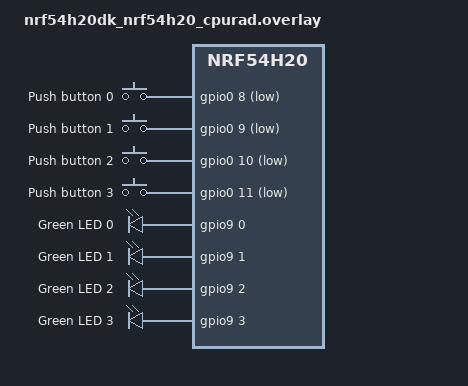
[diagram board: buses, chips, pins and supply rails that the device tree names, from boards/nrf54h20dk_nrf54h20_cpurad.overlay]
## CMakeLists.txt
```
#
# Copyright (c) 2018 Nordic Semiconductor
#
# SPDX-License-Identifier: LicenseRef-Nordic-5-Clause
#
cmake_minimum_required(VERSION 3.20.0)

find_package(Zephyr REQUIRED HINTS $ENV{ZEPHYR_BASE})
project(NONE)

# NORDIC SDK APP START
target_sources(app PRIVATE
  src/main.c
)

# NORDIC SDK APP END

zephyr_library_include_directories(.)
```

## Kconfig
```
#
# Copyright (c) 2018 Nordic Semiconductor
#
# SPDX-License-Identifier: LicenseRef-Nordic-5-Clause
#

source "Kconfig.zephyr"

menu "Nordic UART BLE GATT service sample"

config BT_NUS_THREAD_STACK_SIZE
	int "Thread stack size"
	default 1024
	help
	  Stack size used in each of the two threads

config BT_NUS_UART_BUFFER_SIZE
	int "UART payload buffer element size"
	default 40
	help
	  Size of the payload buffer in each RX and TX FIFO element

config BT_NUS_SECURITY_ENABLED
	bool "Security"
	default y
	select BT_SMP
	help
	  Enable Bluetooth LE security for the UART service

config BT_NUS_UART_RX_WAIT_TIME
	int "Timeout for UART RX complete event"
	default 50000
	help
	  Wait for RX complete event time in microseconds

config SETTINGS
	default y

config ZMS
	default y if (SOC_FLASH_NRF_RRAM || SOC_FLASH_NRF_MRAM)

config NVS
	default y if !(SOC_FLASH_NRF_RRAM || SOC_FLASH_NRF_MRAM)

endmenu
```

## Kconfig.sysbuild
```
#
# Copyright (c) 2023 Nordic Semiconductor
#
# SPDX-License-Identifier: LicenseRef-Nordic-5-Clause
#

config MERGED_HEX_FILES
	# On nRF71 the UICR and WICR hex files come from separate sysbuild
	# images that the merge target cannot depend on, so merging fails.
	default y if !SOC_SERIES_NRF54H && !SOC_SERIES_NRF71

config NRF_DEFAULT_IPC_RADIO
	default y

config NETCORE_IPC_RADIO_BT_HCI_IPC
	default y

source "share/sysbuild/Kconfig"
```

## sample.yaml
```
sample:
  description: Bluetooth Low Energy UART service sample
  name: Bluetooth LE UART service

common:
  sysbuild: true
  build_only: true
  tags:
    - bluetooth
    - ci_build
    - sysbuild
    - ci_samples_bluetooth

tests:
  sample.bluetooth.peripheral_uart:
    build_only: false
    platform_allow: &peripheral_uart_platforms
      - nrf5340dk/nrf5340/cpuapp
      - nrf5340dk/nrf5340/cpuapp/ns
      - nrf54l15dk/nrf54l05/cpuapp
      - nrf54l15dk/nrf54l10/cpuapp
      - nrf54l15dk/nrf54l15/cpuapp
      - nrf54l15dk/nrf54l15/cpuapp/ns
      - nrf54ls05dk/nrf54ls05a/cpuapp
      - nrf54ls05dk/nrf54ls05b/cpuapp
      - nrf54lm20dk/nrf54lm20a/cpuapp
      - nrf54lm20dk/nrf54lm20a/cpuapp/ns
      - nrf54lm20dk/nrf54lm20b/cpuapp
      - nrf54lm20dk/nrf54lm20b/cpuapp/ns
      - nrf54lv10dk/nrf54lv10a/cpuapp
      - nrf54lv10dk/nrf54lv10a/cpuapp/ns
      - nrf54lc10dk/nrf54lc10a/cpuapp
      - nrf54lc10dk/nrf54lc10a/cpuapp/ns
      - nrf54h20dk/nrf54h20/cpuapp
      - nrf54h20dk/nrf54h20/cpurad
      - nrf7120dk/nrf7120/cpuapp
    integration_platforms: *peripheral_uart_platforms
    harness: console
    harness_config:
      type: multi_line
      ordered: true
      regex:
        - "Starting Nordic UART service sample"
    timeout: 15

  sample.bluetooth.peripheral_uart_cdc:
    platform_allow:
      - nrf54lm20dk/nrf54lm20a/cpuapp
      - nrf54lm20dk/nrf54lm20b/cpuapp
    integration_platforms:
      - nrf54lm20dk/nrf54lm20a/cpuapp
    extra_args:
      - OVERLAY_CONFIG=prj_cdc.conf
      - DTC_OVERLAY_FILE="usb.overlay"

  sample.bluetooth.peripheral_uart_minimal:
    platform_allow:
      - nrf54ls05dk/nrf54ls05a/cpuapp
    integration_platforms:
      - nrf54ls05dk/nrf54ls05a/cpuapp
    extra_args: FILE_SUFFIX=minimal

  sample.bluetooth.peripheral_uart_ble_rpc:
    platform_allow:
      - nrf5340dk/nrf5340/cpuapp
      - nrf54h20dk/nrf54h20/cpuapp
    integration_platforms:
      - nrf54h20dk/nrf54h20/cpuapp
    extra_args:
      - SNIPPET=nordic-bt-rpc
      - FILE_SUFFIX=bt_rpc

  sample.bluetooth.peripheral_uart.security_disabled:
    platform_allow: *peripheral_uart_platforms
    integration_platforms:
      - nrf54l15dk/nrf54l15/cpuapp
    extra_configs:
      - CONFIG_BT_NUS_SECURITY_ENABLED=n
```

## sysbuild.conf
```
#
# Copyright (c) 2024 Nordic Semiconductor
#
# SPDX-License-Identifier: LicenseRef-Nordic-5-Clause
#

SB_CONFIG_NETCORE_IPC_RADIO_BT_HCI_IPC=y
```

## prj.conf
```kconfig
#
# Copyright (c) 2018 Nordic Semiconductor
#
# SPDX-License-Identifier: LicenseRef-Nordic-5-Clause
#

# Enable the UART driver
CONFIG_UART_ASYNC_API=y
CONFIG_NRFX_UARTE=y
CONFIG_SERIAL=y

CONFIG_GPIO=y

# Make sure printk is printing to the UART console
CONFIG_CONSOLE=y
CONFIG_UART_CONSOLE=y

CONFIG_HEAP_MEM_POOL_SIZE=2048

CONFIG_BT=y
CONFIG_BT_PERIPHERAL=y
CONFIG_BT_DEVICE_NAME="Nordic_UART_Service"
CONFIG_BT_MAX_CONN=1
CONFIG_BT_MAX_PAIRED=1

# Enable the NUS service
CONFIG_BT_NUS=y

# Enable bonding
CONFIG_BT_SETTINGS=y
CONFIG_FLASH=y
CONFIG_FLASH_PAGE_LAYOUT=y
CONFIG_FLASH_MAP=y

# Enable DK LED and Buttons library
CONFIG_DK_LIBRARY=y

CONFIG_SYSTEM_WORKQUEUE_STACK_SIZE=2048
# Config logger
CONFIG_LOG=y
CONFIG_USE_SEGGER_RTT=y
CONFIG_LOG_BACKEND_RTT=y
CONFIG_LOG_BACKEND_UART=n
CONFIG_LOG_PRINTK=n

CONFIG_ASSERT=y
```

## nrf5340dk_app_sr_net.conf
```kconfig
#
# Copyright (c) 2022 Nordic Semiconductor
#
# SPDX-License-Identifier: LicenseRef-Nordic-5-Clause
#

CONFIG_BOOTLOADER_MCUBOOT=y
CONFIG_NRF53_UPGRADE_NETWORK_CORE=y
CONFIG_ADD_MCUBOOT_MEDIATE_SIM_FLASH_DTS=y
```

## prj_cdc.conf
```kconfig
#
# Copyright (c) 2021 Nordic Semiconductor
#
# SPDX-License-Identifier: LicenseRef-Nordic-5-Clause
#

# Enable the UART driver
CONFIG_UART_LINE_CTRL=y
CONFIG_UART_INTERRUPT_DRIVEN=y
CONFIG_UART_ASYNC_ADAPTER=y

CONFIG_USB_DEVICE_STACK_NEXT=y
CONFIG_CDC_ACM_SERIAL_INITIALIZE_AT_BOOT=y
CONFIG_USBD_CDC_ACM_LOG_LEVEL_OFF=y

# Disable the UARTE enabled in default project configuration
CONFIG_UART_NRFX=n
```

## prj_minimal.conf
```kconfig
#
# Copyright (c) 2021 Nordic Semiconductor
#
# SPDX-License-Identifier: LicenseRef-Nordic-5-Clause
#

# Enable the UART driver
CONFIG_UART_ASYNC_API=y
CONFIG_NRFX_UARTE=y
CONFIG_SERIAL=y

CONFIG_HEAP_MEM_POOL_SIZE=1536

CONFIG_BT=y
CONFIG_BT_PERIPHERAL=y
CONFIG_BT_DEVICE_NAME="Nordic_UART_Service"
CONFIG_BT_DEVICE_APPEARANCE=833
CONFIG_BT_MAX_CONN=1
CONFIG_BT_MAX_PAIRED=1

# Enable the NUS service
CONFIG_BT_NUS=y

# Enable bonding
CONFIG_BT_SETTINGS=y
CONFIG_FLASH=y
CONFIG_FLASH_PAGE_LAYOUT=y
CONFIG_FLASH_MAP=y

# Enable DK LED and Buttons library
CONFIG_DK_LIBRARY=y

# Drivers and peripherals
CONFIG_I2C=n
CONFIG_WATCHDOG=n
CONFIG_SPI=n
CONFIG_GPIO=n

# Power management

# Interrupts
CONFIG_DYNAMIC_INTERRUPTS=n
CONFIG_IRQ_OFFLOAD=n

# Memory protection
CONFIG_THREAD_STACK_INFO=n
CONFIG_THREAD_CUSTOM_DATA=n
CONFIG_FPU=n

# Boot
CONFIG_NCS_BOOT_BANNER=n
CONFIG_BOOT_BANNER=n
CONFIG_BOOT_DELAY=0

# Console
CONFIG_CONSOLE=n
CONFIG_UART_CONSOLE=n
CONFIG_STDOUT_CONSOLE=n
CONFIG_PRINTK=n
CONFIG_EARLY_CONSOLE=n

# Build
CONFIG_SIZE_OPTIMIZATIONS=y

# ARM
CONFIG_ARM_MPU=n

# In order to correctly tune the stack sizes for the threads the following
# Configurations can enabled to print the current use:
#CONFIG_THREAD_NAME=y
#CONFIG_THREAD_ANALYZER=y
#CONFIG_THREAD_ANALYZER_AUTO=y
#CONFIG_THREAD_ANALYZER_RUN_UNLOCKED=y
#CONFIG_THREAD_ANALYZER_USE_PRINTK=y
#CONFIG_CONSOLE=y
#CONFIG_UART_CONSOLE=y
#CONFIG_SERIAL=y
#CONFIG_PRINTK=y

# Example output of thread analyzer
#SDC RX              : unused 800 usage 224 / 1024 (21 %)
#BT ECC              : unused 216 usage 888 / 1104 (80 %)
#BT RX               : unused 1736 usage 464 / 2200 (21 %)
#BT TX               : unused 1008 usage 528 / 1536 (34 %)
#ble_write_thread_id : unused 688 usage 336 / 1024 (32 %)
#sysworkq            : unused 1912 usage 136 / 2048 (6 %)
#MPSL signal         : unused 928 usage 96 / 1024 (9 %)
#idle 00             : unused 224 usage 96 / 320 (30 %)
#main                : unused 568 usage 456 / 1024 (44 %)
CONFIG_BT_RX_STACK_SIZE=1024
CONFIG_BT_HCI_TX_STACK_SIZE_WITH_PROMPT=y
CONFIG_BT_HCI_TX_STACK_SIZE=640
CONFIG_SYSTEM_WORKQUEUE_STACK_SIZE=1536
CONFIG_MPSL_WORK_STACK_SIZE=256
CONFIG_IDLE_STACK_SIZE=128
CONFIG_ISR_STACK_SIZE=1024
CONFIG_BT_NUS_THREAD_STACK_SIZE=512

# Disable features not needed
CONFIG_TIMESLICING=n
CONFIG_COMMON_LIBC_MALLOC=n
CONFIG_LOG=n
CONFIG_LOG_BACKEND_RTT=n
CONFIG_ASSERT=n

# Disable Bluetooth features not needed
CONFIG_BT_DEBUG_NONE=y
CONFIG_BT_ASSERT=n
CONFIG_BT_DATA_LEN_UPDATE=n
CONFIG_BT_PHY_UPDATE=n
CONFIG_BT_GATT_CACHING=n
CONFIG_BT_GATT_SERVICE_CHANGED=n
CONFIG_BT_GAP_PERIPHERAL_PREF_PARAMS=n
CONFIG_BT_SETTINGS_CCC_LAZY_LOADING=y
CONFIG_BT_HCI_VS=n

# Disable Bluetooth controller features not needed
CONFIG_BT_CTLR_PRIVACY=n
CONFIG_BT_CTLR_PHY_2M=n

# Reduce Bluetooth buffers
CONFIG_BT_BUF_EVT_DISCARDABLE_COUNT=1
CONFIG_BT_BUF_EVT_DISCARDABLE_SIZE=43
CONFIG_BT_BUF_EVT_RX_COUNT=4

CONFIG_BT_L2CAP_TX_BUF_COUNT=2
CONFIG_BT_ATT_TX_COUNT=2
CONFIG_BT_BUF_ACL_TX_COUNT=3
CONFIG_BT_BUF_ACL_TX_SIZE=27
```

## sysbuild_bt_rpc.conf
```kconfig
#
# Copyright (c) 2024 Nordic Semiconductor
#
# SPDX-License-Identifier: LicenseRef-Nordic-5-Clause
#

SB_CONFIG_BT=y
SB_CONFIG_BT_RPC=y
```

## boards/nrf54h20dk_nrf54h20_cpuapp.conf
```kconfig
#
# Copyright (c) 2024 Nordic Semiconductor
#
# SPDX-License-Identifier: LicenseRef-Nordic-5-Clause
#

# Don't get entropy from HCI on nRF54H20 devices
CONFIG_BT_HOST_CRYPTO_PRNG=y
CONFIG_ENTROPY_BT_HCI=n

CONFIG_SOC_NRF54H20_CPURAD_ENABLE=y
```

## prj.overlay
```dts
&uart0 {
	compatible = "nordic,nrf-uarte";
};
```

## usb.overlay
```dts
/*
 * Copyright (c) 2021 Nordic Semiconductor ASA
 *
 * SPDX-License-Identifier: LicenseRef-Nordic-5-Clause
 */

/ {
	chosen {
		zephyr,console = &cdc_acm_uart0;
		nordic,nus-uart = &cdc_acm_uart0;
	};
};

&zephyr_udc0 {
	cdc_acm_uart0: cdc_acm_uart0 {
		compatible = "zephyr,cdc-acm-uart";
		label = "CDC_ACM_0";
	};
};
```

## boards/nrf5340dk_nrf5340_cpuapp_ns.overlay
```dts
/*
 * Copyright (c) 2026 Nordic Semiconductor ASA
 *
 * SPDX-License-Identifier: LicenseRef-Nordic-5-Clause
 */

/delete-node/ &boot_partition;
/delete-node/ &slot0_partition;
/delete-node/ &slot1_partition;
/delete-node/ &tfm_its_partition;
/delete-node/ &tfm_otp_partition;
/delete-node/ &tfm_ps_partition;
/delete-node/ &storage_partition;

&flash0 {
	partitions {
		slot0_s_partition: partition@0 {
			compatible = "zephyr,mapped-partition";
			label = "image-0-secure";
			reg = <0x0 0x20000>;
		};

		slot0_ns_partition: partition@20000 {
			compatible = "zephyr,mapped-partition";
			label = "image-0-nonsecure";
			reg = <0x20000 0xd2000>;
		};

		nonsecure_storage: partition@f2000 {
			compatible = "zephyr,mapped-partition";
			label = "nonsecure-storage";
			reg = <0xf2000 DT_SIZE_K(8)>;
			ranges = <0x0 0xf2000 DT_SIZE_K(8)>;
			#address-cells = <1>;
			#size-cells = <1>;

			storage_partition: partition@0 {
				compatible = "zephyr,mapped-partition";
				label = "storage";
				reg = <0x0 DT_SIZE_K(8)>;
			};
		};

		tfm_storage_partition: partition@f4000 {
			compatible = "zephyr,mapped-partition";
			label = "tfm-storage";
			reg = <0xf4000 DT_SIZE_K(48)>;
			ranges = <0x0 0xf4000 DT_SIZE_K(48)>;
			#address-cells = <1>;
			#size-cells = <1>;

			tfm_its_partition: partition@0 {
				compatible = "zephyr,mapped-partition";
				label = "tfm-its";
				reg = <0x0 DT_SIZE_K(8)>;
			};

			tfm_otp_partition: partition@4000 {
				compatible = "zephyr,mapped-partition";
				label = "tfm-otp";
				reg = <0x4000 DT_SIZE_K(8)>;
			};

			tfm_ps_partition: partition@8000 {
				compatible = "zephyr,mapped-partition";
				label = "tfm-ps";
				reg = <0x8000 DT_SIZE_K(16)>;
			};
		};
	};
};

&sram0_s {
	reg = <0x0 0xc000>;
};

&sram0_ns {
	reg = <0xc000 0x74000>;
	ranges = <0x0 0xc000 0x74000>;
};

&sram0_ns_app {
	reg = <0x0 0x64000>;
};
```

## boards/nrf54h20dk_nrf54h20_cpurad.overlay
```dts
/*
 * Copyright (c) 2024 Nordic Semiconductor ASA
 *
 * SPDX-License-Identifier: LicenseRef-Nordic-5-Clause
 */

/ {
	chosen {
		zephyr,settings_partition = &cpurad_storage_partition;
	};

	/* LEDs and buttons definitions are required for the DK Buttons and
	 * LEDs module.
	 */

	aliases {
		led0 = &led0;
		led1 = &led1;
		led2 = &led2;
		led3 = &led3;

		sw0 = &button0;
		sw1 = &button1;
		sw2 = &button2;
		sw3 = &button3;
	};

	buttons {
		compatible = "gpio-keys";

		button0: button_0 {
			gpios = <&gpio0 8 (GPIO_PULL_UP | GPIO_ACTIVE_LOW)>;
			label = "Push button 0";
			zephyr,code = <INPUT_KEY_0>;
		};

		button1: button_1 {
			gpios = <&gpio0 9 (GPIO_PULL_UP | GPIO_ACTIVE_LOW)>;
			label = "Push button 1";
			zephyr,code = <INPUT_KEY_1>;
		};

		button2: button_2 {
			gpios = <&gpio0 10 (GPIO_PULL_UP | GPIO_ACTIVE_LOW)>;
			label = "Push button 2";
			zephyr,code = <INPUT_KEY_2>;
		};

		button3: button_3 {
			gpios = <&gpio0 11 (GPIO_PULL_UP | GPIO_ACTIVE_LOW)>;
			label = "Push button 3";
			zephyr,code = <INPUT_KEY_3>;
		};
	};

	leds {
		compatible = "gpio-leds";

		led0: led_0 {
			gpios = <&gpio9 0 GPIO_ACTIVE_HIGH>;
			label = "Green LED 0";
		};

		led1: led_1 {
			gpios = <&gpio9 1 GPIO_ACTIVE_HIGH>;
			label = "Green LED 1";
		};

		led2: led_2 {
			gpios = <&gpio9 2 GPIO_ACTIVE_HIGH>;
			label = "Green LED 2";
		};

		led3: led_3 {
			gpios = <&gpio9 3 GPIO_ACTIVE_HIGH>;
			label = "Green LED 3";
		};
	};
};

&gpio0 {
	status = "okay";
};

&gpio9 {
	status = "okay";
};

&gpiote130 {
	status = "okay";
	owned-channels = <4 5 6 7>;
};

/* Add a read write partition for the settings module.
 *
 * @note In case of running firmware on the application core, the same memory map
 * change must be applied to the application core DTS.
 */
&mram1x {
	partitions {
		/* Note: the location here has been kept the same as before the introduction of
		 * IronSide on nrf54h20, which has brought with it an updated memory map.
		 * It will likely need to be updated as the MRAM memory map is not yet final.
		 */
		cpurad_storage_partition: partition@1e3000 {
			compatible = "zephyr,mapped-partition";
			reg = <0x1e3000 DT_SIZE_K(24)>;
		};
	};
};
```

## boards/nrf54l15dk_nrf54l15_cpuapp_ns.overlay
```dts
/*
 * Copyright (c) 2026 Nordic Semiconductor ASA
 *
 * SPDX-License-Identifier: LicenseRef-Nordic-5-Clause
 */

/delete-node/ &slot0_s_partition;
/delete-node/ &storage_partition;
/delete-node/ &slot0_ns_partition;
/delete-node/ &tfm_its_partition;
/delete-node/ &tfm_otp_partition;
/delete-node/ &tfm_ps_partition;

&cpuapp_rram {
	partitions {
		slot0_s_partition: partition@0 {
			compatible = "zephyr,mapped-partition";
			label = "image-0-secure";
			reg = <0x0 0x40000>;
		};

		tfm_storage_partition: partition@40000 {
			compatible = "zephyr,mapped-partition";
			label = "tfm-storage";
			reg = <0x40000 DT_SIZE_K(40)>;
			ranges = <0x0 0x40000 DT_SIZE_K(40)>;
			#address-cells = <1>;
			#size-cells = <1>;

			tfm_its_partition: partition@0 {
				compatible = "zephyr,mapped-partition";
				label = "tfm-its";
				reg = <0x0 DT_SIZE_K(16)>;
			};

			tfm_otp_partition: partition@4000 {
				compatible = "zephyr,mapped-partition";
				label = "tfm-otp";
				reg = <0x4000 DT_SIZE_K(8)>;
			};

			tfm_ps_partition: partition@6000 {
				compatible = "zephyr,mapped-partition";
				label = "tfm-ps";
				reg = <0x6000 DT_SIZE_K(16)>;
			};
		};

		slot0_ns_partition: partition@4a000 {
			compatible = "zephyr,mapped-partition";
			label = "image-0-nonsecure";
			reg = <0x4a000 0x131000>;
		};

		nonsecure_storage: partition@17b000 {
			compatible = "zephyr,mapped-partition";
			label = "nonsecure-storage";
			reg = <0x17b000 DT_SIZE_K(8)>;
			ranges = <0x0 0x17b000 DT_SIZE_K(8)>;
			#address-cells = <1>;
			#size-cells = <1>;

			storage_partition: partition@0 {
				compatible = "zephyr,mapped-partition";
				label = "storage";
				reg = <0x0 DT_SIZE_K(8)>;
			};
		};
	};
};
```

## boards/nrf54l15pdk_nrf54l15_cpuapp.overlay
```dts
/*
 * Copyright (c) 2024 Nordic Semiconductor ASA
 *
 * SPDX-License-Identifier: LicenseRef-Nordic-5-Clause
 */

/ {
	chosen {
		nordic,nus-uart = &uart30;
	};
};

&uart30 {
	status = "okay";
};
```

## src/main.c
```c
/*
 * Copyright (c) 2018 Nordic Semiconductor ASA
 *
 * SPDX-License-Identifier: LicenseRef-Nordic-5-Clause
 */

/** @file
 *  @brief Nordic UART Bridge Service (NUS) sample
 */
#include <uart_async_adapter.h>

#include <zephyr/types.h>
#include <zephyr/kernel.h>
#include <zephyr/drivers/uart.h>

#include <zephyr/device.h>
#include <zephyr/devicetree.h>
#include <soc.h>

#include <zephyr/bluetooth/bluetooth.h>
#include <zephyr/bluetooth/uuid.h>
#include <zephyr/bluetooth/gatt.h>
#include <zephyr/bluetooth/hci.h>

#include <bluetooth/services/nus.h>

#include <dk_buttons_and_leds.h>

#include <zephyr/settings/settings.h>

#include <stdio.h>
#include <string.h>

#include <zephyr/logging/log.h>

#define LOG_MODULE_NAME peripheral_uart
LOG_MODULE_REGISTER(LOG_MODULE_NAME);

#define STACKSIZE CONFIG_BT_NUS_THREAD_STACK_SIZE
#define PRIORITY 7

#define DEVICE_NAME CONFIG_BT_DEVICE_NAME
#define DEVICE_NAME_LEN	(sizeof(DEVICE_NAME) - 1)

#define RUN_STATUS_LED DK_LED1
#define RUN_LED_BLINK_INTERVAL 1000

#define CON_STATUS_LED DK_LED2

#define KEY_PASSKEY_ACCEPT DK_BTN1_MSK
#define KEY_PASSKEY_REJECT DK_BTN2_MSK

#define UART_BUF_SIZE CONFIG_BT_NUS_UART_BUFFER_SIZE
#define UART_WAIT_FOR_BUF_DELAY K_MSEC(50)
#define UART_WAIT_FOR_RX CONFIG_BT_NUS_UART_RX_WAIT_TIME

static K_SEM_DEFINE(ble_init_ok, 0, 1);

static struct bt_conn *current_conn;
static struct bt_conn *auth_conn;
static struct k_work adv_work;

#if DT_HAS_CHOSEN(nordic_nus_uart)
#define NUS_UART_NODE DT_CHOSEN(nordic_nus_uart)
#elif DT_HAS_CHOSEN(zephyr_shell_uart)
#define NUS_UART_NODE DT_CHOSEN(zephyr_shell_uart)
#else
#error "No NUS UART: add chosen 'nordic,nus-uart' to devicetree (e.g. in a board overlay)."
#endif
static const struct device *uart = DEVICE_DT_GET(NUS_UART_NODE);
static struct k_work_delayable uart_work;

struct uart_data_t {
	void *fifo_reserved;
	uint8_t data[UART_BUF_SIZE];
	uint16_t len;
};

static K_FIFO_DEFINE(fifo_uart_tx_data);
static K_FIFO_DEFINE(fifo_uart_rx_data);

static const struct bt_data ad[] = {
	BT_DATA_BYTES(BT_DATA_FLAGS, (BT_LE_AD_GENERAL | BT_LE_AD_NO_BREDR)),
	BT_DATA(BT_DATA_NAME_COMPLETE, DEVICE_NAME, DEVICE_NAME_LEN),
};

static const struct bt_data sd[] = {
	BT_DATA_BYTES(BT_DATA_UUID128_ALL, BT_UUID_NUS_VAL),
};

#ifdef CONFIG_UART_ASYNC_ADAPTER
UART_ASYNC_ADAPTER_INST_DEFINE(async_adapter);
#else
#define async_adapter NULL
#endif

static void uart_cb(const struct device *dev, struct uart_event *evt, void *user_data)
{
	ARG_UNUSED(dev);

	static size_t aborted_len;
	struct uart_data_t *buf;
	static uint8_t *aborted_buf;
	static bool disable_req;

	switch (evt->type) {
	case UART_TX_DONE:
		LOG_DBG("UART_TX_DONE");
		if ((evt->data.tx.len == 0) ||
		    (!evt->data.tx.buf)) {
			return;
		}

		if (aborted_buf) {
			buf = CONTAINER_OF(aborted_buf, struct uart_data_t,
					   data[0]);
			aborted_buf = NULL;
			aborted_len = 0;
		} else {
			buf = CONTAINER_OF(evt->data.tx.buf, struct uart_data_t,
					   data[0]);
		}

		k_free(buf);

		buf = k_fifo_get(&fifo_uart_tx_data, K_NO_WAIT);
		if (!buf) {
			return;
		}

		if (uart_tx(uart, buf->data, buf->len, SYS_FOREVER_MS)) {
			LOG_WRN("Failed to send data over UART");
		}

		break;

	case UART_RX_RDY:
		LOG_DBG("UART_RX_RDY");
		buf = CONTAINER_OF(evt->data.rx.buf, struct uart_data_t, data[0]);
		buf->len += evt->data.rx.len;

		if (disable_req) {
			return;
		}

		if ((evt->data.rx.buf[buf->len - 1] == '\n') ||
		    (evt->data.rx.buf[buf->len - 1] == '\r')) {
			disable_req = true;
			uart_rx_disable(uart);
		}

		break;

	case UART_RX_DISABLED:
		LOG_DBG("UART_RX_DISABLED");
		disable_req = false;

		buf = k_malloc(sizeof(*buf));
		if (buf) {
			buf->len = 0;
		} else {
			LOG_WRN("Not able to allocate UART receive buffer");
			k_work_reschedule(&uart_work, UART_WAIT_FOR_BUF_DELAY);
			return;
		}

		uart_rx_enable(uart, buf->data, sizeof(buf->data),
			       UART_WAIT_FOR_RX);

		break;

	case UART_RX_BUF_REQUEST:
		LOG_DBG("UART_RX_BUF_REQUEST");
		buf = k_malloc(sizeof(*buf));
		if (buf) {
			buf->len = 0;
			uart_rx_buf_rsp(uart, buf->data, sizeof(buf->data));
		} else {
			LOG_WRN("Not able to allocate UART receive buffer");
		}

		break;

	case UART_RX_BUF_RELEASED:
		LOG_DBG("UART_RX_BUF_RELEASED");
		buf = CONTAINER_OF(evt->data.rx_buf.buf, struct uart_data_t,
				   data[0]);

		if (buf->len > 0) {
			k_fifo_put(&fifo_uart_rx_data, buf);
		} else {
			k_free(buf);
		}

		break;

	case UART_TX_ABORTED:
		LOG_DBG("UART_TX_ABORTED");
		if (!aborted_buf) {
			aborted_buf = (uint8_t *)evt->data.tx.buf;
		}

		aborted_len += evt->data.tx.len;
		buf = CONTAINER_OF((void *)aborted_buf, struct uart_data_t,
				   data);

		uart_tx(uart, &buf->data[aborted_len],
			buf->len - aborted_len, SYS_FOREVER_MS);

		break;

	default:
		break;
	}
}

static void uart_work_handler(struct k_work *item)
{
	struct uart_data_t *buf;

	buf = k_malloc(sizeof(*buf));
	if (buf) {
		buf->len = 0;
	} else {
		LOG_WRN("Not able to allocate UART receive buffer");
		k_work_reschedule(&uart_work, UART_WAIT_FOR_BUF_DELAY);
		return;
	}

	uart_rx_enable(uart, buf->data, sizeof(buf->data), UART_WAIT_FOR_RX);
}

static bool uart_test_async_api(const struct device *dev)
{
	const struct uart_driver_api *api =
			(const struct uart_driver_api *)dev->api;

	return (api->callback_set != NULL);
}

static int uart_init(void)
{
	int err;
	int pos;
	struct uart_data_t *rx;
	struct uart_data_t *tx;

	if (!device_is_ready(uart)) {
		return -ENODEV;
	}

	rx = k_malloc(sizeof(*rx));
	if (rx) {
		rx->len = 0;
	} else {
		return -ENOMEM;
	}

	k_work_init_delayable(&uart_work, uart_work_handler);


	if (IS_ENABLED(CONFIG_UART_ASYNC_ADAPTER) && !uart_test_async_api(uart)) {
		/* Implement API adapter */
		uart_async_adapter_init(async_adapter, uart);
		uart = async_adapter;
	}

	err = uart_callback_set(uart, uart_cb, NULL);
	if (err) {
		k_free(rx);
		LOG_ERR("Cannot initialize UART callback");
		return err;
	}

	if (IS_ENABLED(CONFIG_UART_LINE_CTRL)) {
		LOG_INF("Wait for DTR");
		while (true) {
			uint32_t dtr = 0;

			uart_line_ctrl_get(uart, UART_LINE_CTRL_DTR, &dtr);
			if (dtr) {
				break;
			}
			/* Give CPU resources to low priority threads. */
			k_sleep(K_MSEC(100));
		}
		LOG_INF("DTR set");
		err = uart_line_ctrl_set(uart, UART_LINE_CTRL_DCD, 1);
		if (err) {
			LOG_WRN("Failed to set DCD, ret code %d", err);
		}
		err = uart_line_ctrl_set(uart, UART_LINE_CTRL_DSR, 1);
		if (err) {
			LOG_WRN("Failed to set DSR, ret code %d", err);
		}
	}

	tx = k_malloc(sizeof(*tx));

	if (tx) {
		pos = snprintf(tx->data, sizeof(tx->data),
			       "Starting Nordic UART service sample\r\n");

		if ((pos < 0) || (pos >= sizeof(tx->data))) {
			k_free(rx);
			k_free(tx);
			LOG_ERR("snprintf returned %d", pos);
			return -ENOMEM;
		}

		tx->len = pos;
	} else {
		k_free(rx);
		return -ENOMEM;
	}

	err = uart_tx(uart, tx->data, tx->len, SYS_FOREVER_MS);
	if (err) {
		k_free(rx);
		k_free(tx);
		LOG_ERR("Cannot display welcome message (err: %d)", err);
		return err;
	}

	err = uart_rx_enable(uart, rx->data, sizeof(rx->data), UART_WAIT_FOR_RX);
	if (err) {
		LOG_ERR("Cannot enable uart reception (err: %d)", err);
		/* Free the rx buffer only because the tx buffer will be handled in the callback */
		k_free(rx);
	}

	return err;
}

static void adv_work_handler(struct k_work *work)
{
	int err = bt_le_adv_start(BT_LE_ADV_CONN_FAST_2, ad, ARRAY_SIZE(ad), sd, ARRAY_SIZE(sd));

	if (err) {
		LOG_ERR("Advertising failed to start (err %d)", err);
		return;
	}

	LOG_INF("Advertising successfully started");
}

static void advertising_start(void)
{
	k_work_submit(&adv_work);
}

static void connected(struct bt_conn *conn, uint8_t err)
{
	char addr[BT_ADDR_LE_STR_LEN];

	if (err) {
		LOG_ERR("Connection failed, err 0x%02x %s", err, bt_hci_err_to_str(err));
		return;
	}

	bt_addr_le_to_str(bt_conn_get_dst(conn), addr, sizeof(addr));
	LOG_INF("Connected %s", addr);

	current_conn = bt_conn_ref(conn);

	dk_set_led_on(CON_STATUS_LED);
}

static void disconnected(struct bt_conn *conn, uint8_t reason)
{
	char addr[BT_ADDR_LE_STR_LEN];

	bt_addr_le_to_str(bt_conn_get_dst(conn), addr, sizeof(addr));

	LOG_INF("Disconnected: %s, reason 0x%02x %s", addr, reason, bt_hci_err_to_str(reason));

	if (auth_conn) {
		bt_conn_unref(auth_conn);
		auth_conn = NULL;
	}

	if (current_conn) {
		bt_conn_unref(current_conn);
		current_conn = NULL;
		dk_set_led_off(CON_STATUS_LED);
	}
}

static void recycled_cb(void)
{
	LOG_INF("Connection object available from previous conn. Disconnect is complete!");
	advertising_start();
}

#ifdef CONFIG_BT_NUS_SECURITY_ENABLED
static void security_changed(struct bt_conn *conn, bt_security_t level,
			     enum bt_security_err err)
{
	char addr[BT_ADDR_LE_STR_LEN];

	bt_addr_le_to_str(bt_conn_get_dst(conn), addr, sizeof(addr));

	if (!err) {
		LOG_INF("Security changed: %s level %u", addr, level);
	} else {
		LOG_WRN("Security failed: %s level %u err %d %s", addr, level, err,
			bt_security_err_to_str(err));
	}
}
#endif

BT_CONN_CB_DEFINE(conn_callbacks) = {
	.connected        = connected,
	.disconnected     = disconnected,
	.recycled         = recycled_cb,
#ifdef CONFIG_BT_NUS_SECURITY_ENABLED
	.security_changed = security_changed,
#endif
};

#if defined(CONFIG_BT_NUS_SECURITY_ENABLED)
static void auth_passkey_display(struct bt_conn *conn, unsigned int passkey)
{
	char addr[BT_ADDR_LE_STR_LEN];

	bt_addr_le_to_str(bt_conn_get_dst(conn), addr, sizeof(addr));

	LOG_INF("Passkey for %s: %06u", addr, passkey);
}

static void auth_passkey_confirm(struct bt_conn *conn, unsigned int passkey)
{
	char addr[BT_ADDR_LE_STR_LEN];

	auth_conn = bt_conn_ref(conn);

	bt_addr_le_to_str(bt_conn_get_dst(conn), addr, sizeof(addr));

	LOG_INF("Passkey for %s: %06u", addr, passkey);

	if (IS_ENABLED(CONFIG_SOC_SERIES_NRF54H) || IS_ENABLED(CONFIG_SOC_SERIES_NRF54L)) {
		LOG_INF("Press Button 0 to confirm, Button 1 to reject.");
	} else {
		LOG_INF("Press Button 1 to confirm, Button 2 to reject.");
	}
}


static void auth_cancel(struct bt_conn *conn)
{
	char addr[BT_ADDR_LE_STR_LEN];

	bt_addr_le_to_str(bt_conn_get_dst(conn), addr, sizeof(addr));

	LOG_INF("Pairing cancelled: %s", addr);
}


static void pairing_complete(struct bt_conn *conn, bool bonded)
{
	char addr[BT_ADDR_LE_STR_LEN];

	bt_addr_le_to_str(bt_conn_get_dst(conn), addr, sizeof(addr));

	LOG_INF("Pairing completed: %s, bonded: %d", addr, bonded);
}


static void pairing_failed(struct bt_conn *conn, enum bt_security_err reason)
{
	char addr[BT_ADDR_LE_STR_LEN];

	bt_addr_le_to_str(bt_conn_get_dst(conn), addr, sizeof(addr));

	LOG_INF("Pairing failed conn: %s, reason %d %s", addr, reason,
		bt_security_err_to_str(reason));
}

static struct bt_conn_auth_cb conn_auth_callbacks = {
	.passkey_display = auth_passkey_display,
	.passkey_confirm = auth_passkey_confirm,
	.cancel = auth_cancel,
};

static struct bt_conn_auth_info_cb conn_auth_info_callbacks = {
	.pairing_complete = pairing_complete,
	.pairing_failed = pairing_failed
};
#else
static struct bt_conn_auth_cb conn_auth_callbacks;
static struct bt_conn_auth_info_cb conn_auth_info_callbacks;
#endif

static void bt_receive_cb(struct bt_conn *conn, const uint8_t *const data,
			  uint16_t len)
{
	int err;
	char addr[BT_ADDR_LE_STR_LEN] = {0};

	bt_addr_le_to_str(bt_conn_get_dst(conn), addr, ARRAY_SIZE(addr));

	LOG_INF("Received data from: %s", addr);

	for (uint16_t pos = 0; pos != len;) {
		struct uart_data_t *tx = k_malloc(sizeof(*tx));

		if (!tx) {
			LOG_WRN("Not able to allocate UART send data buffer");
			return;
		}

		/* Keep the last byte of TX buffer for potential LF char. */
		size_t tx_data_size = sizeof(tx->data) - 1;

		if ((len - pos) > tx_data_size) {
			tx->len = tx_data_size;
		} else {
			tx->len = (len - pos);
		}

		memcpy(tx->data, &data[pos], tx->len);

		pos += tx->len;

		/* Append the LF character when the CR character triggered
		 * transmission from the peer.
		 */
		if ((pos == len) && (data[len - 1] == '\r')) {
			tx->data[tx->len] = '\n';
			tx->len++;
		}

		err = uart_tx(uart, tx->data, tx->len, SYS_FOREVER_MS);
		if (err) {
			k_fifo_put(&fifo_uart_tx_data, tx);
		}
	}
}

static struct bt_nus_cb nus_cb = {
	.received = bt_receive_cb,
};

void error(void)
{
	dk_set_leds_state(DK_ALL_LEDS_MSK, DK_NO_LEDS_MSK);

	while (true) {
		/* Spin for ever */
		k_sleep(K_MSEC(1000));
	}
}

#ifdef CONFIG_BT_NUS_SECURITY_ENABLED
static void num_comp_reply(bool accept)
{
	if (accept) {
		bt_conn_auth_passkey_confirm(auth_conn);
		LOG_INF("Numeric Match, conn %p", (void *)auth_conn);
	} else {
		bt_conn_auth_cancel(auth_conn);
		LOG_INF("Numeric Reject, conn %p", (void *)auth_conn);
	}

	bt_conn_unref(auth_conn);
	auth_conn = NULL;
}

void button_changed(uint32_t button_state, uint32_t has_changed)
{
	uint32_t buttons = button_state & has_changed;

	if (auth_conn) {
		if (buttons & KEY_PASSKEY_ACCEPT) {
			num_comp_reply(true);
		}

		if (buttons & KEY_PASSKEY_REJECT) {
			num_comp_reply(false);
		}
	}
}
#endif /* CONFIG_BT_NUS_SECURITY_ENABLED */

static void configure_gpio(void)
{
	int err;

#ifdef CONFIG_BT_NUS_SECURITY_ENABLED
	err = dk_buttons_init(button_changed);
	if (err) {
		LOG_ERR("Cannot init buttons (err: %d)", err);
	}
#endif /* CONFIG_BT_NUS_SECURITY_ENABLED */

	err = dk_leds_init();
	if (err) {
		LOG_ERR("Cannot init LEDs (err: %d)", err);
	}
}

int main(void)
{
	int blink_status = 0;
	int err = 0;

	configure_gpio();

	err = uart_init();
	if (err) {
		error();
	}

	if (IS_ENABLED(CONFIG_BT_NUS_SECURITY_ENABLED)) {
		err = bt_conn_auth_cb_register(&conn_auth_callbacks);
		if (err) {
			LOG_ERR("Failed to register authorization callbacks. (err: %d)", err);
			return 0;
		}

		err = bt_conn_auth_info_cb_register(&conn_auth_info_callbacks);
		if (err) {
			LOG_ERR("Failed to register authorization info callbacks. (err: %d)", err);
			return 0;
		}
	}

	err = bt_enable(NULL);
	if (err) {
		error();
	}

	LOG_INF("Bluetooth initialized");

	k_sem_give(&ble_init_ok);

	if (IS_ENABLED(CONFIG_SETTINGS)) {
		settings_load();
	}

	err = bt_nus_init(&nus_cb);
	if (err) {
		LOG_ERR("Failed to initialize UART service (err: %d)", err);
		return 0;
	}

	k_work_init(&adv_work, adv_work_handler);
	advertising_start();

	for (;;) {
		dk_set_led(RUN_STATUS_LED, (++blink_status) % 2);
		k_sleep(K_MSEC(RUN_LED_BLINK_INTERVAL));
	}
}

void ble_write_thread(void)
{
	/* Don't go any further until BLE is initialized */
	k_sem_take(&ble_init_ok, K_FOREVER);
	struct uart_data_t nus_data = {
		.len = 0,
	};

	for (;;) {
		/* Wait indefinitely for data to be sent over bluetooth */
		struct uart_data_t *buf = k_fifo_get(&fifo_uart_rx_data,
						     K_FOREVER);

		int plen = MIN(sizeof(nus_data.data) - nus_data.len, buf->len);
		int loc = 0;

		while (plen > 0) {
			memcpy(&nus_data.data[nus_data.len], &buf->data[loc], plen);
			nus_data.len += plen;
			loc += plen;

			if (nus_data.len >= sizeof(nus_data.data) ||
			   (nus_data.data[nus_data.len - 1] == '\n') ||
			   (nus_data.data[nus_data.len - 1] == '\r')) {
				if (bt_nus_send(NULL, nus_data.data, nus_data.len)) {
					LOG_WRN("Failed to send data over BLE connection");
				}
				nus_data.len = 0;
			}

			plen = MIN(sizeof(nus_data.data), buf->len - loc);
		}

		k_free(buf);
	}
}

K_THREAD_DEFINE(ble_write_thread_id, STACKSIZE, ble_write_thread, NULL, NULL,
		NULL, PRIORITY, 0, 0);
```

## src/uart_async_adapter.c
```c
/*
 * Copyright (c) 2021 Nordic Semiconductor ASA
 *
 * SPDX-License-Identifier: LicenseRef-Nordic-5-Clause
 */

/** @file
 *  @brief UART asynchronous API adapter implementation
 */
#include "uart_async_adapter.h"
#include <zephyr/drivers/uart.h>
#include <zephyr/sys/__assert.h>

#include <zephyr/logging/log.h>
LOG_MODULE_REGISTER(uart_async_adapter);


#if !IS_ENABLED(CONFIG_UART_ASYNC_API)
#error "This adapter requires UART ASYNC API to be enabled"
#endif

#if !IS_ENABLED(CONFIG_UART_INTERRUPT_DRIVEN)
#error "The adapter requires UART INTERRUPT API to be enabled"
#endif


/**
 * @brief Access the data inside device
 *
 * This function gets the pointer to the user data inside device
 *
 * @param dev Device to get adapter data
 * @return Pointer to device data
 */
static struct uart_async_adapter_data *access_dev_data(const struct device *dev)
{
	__ASSERT_NO_MSG(dev);
	__ASSERT_NO_MSG(dev->data);
	return (struct uart_async_adapter_data *)(dev->data);
}

/**
 * @brief Call the sync callback function
 *
 * @param dev UART device structure.
 * @param evt Pointer to uart_event structure.
 */
static void user_callback(const struct device *dev, struct uart_event *evt)
{
	struct uart_async_adapter_data *data = access_dev_data(dev);

	if (data->user_callback) {
		data->user_callback(dev, evt, data->user_data);
	}
}

static int callback_set(const struct device *dev, uart_callback_t callback, void *user_data)
{
	struct uart_async_adapter_data *data = access_dev_data(dev);

	data->user_callback = callback;
	data->user_data = user_data;

	return 0;
}

static inline void notify_rx_buffer(const struct device *dev)
{
	struct uart_event event = {UART_RX_RDY};
	struct uart_async_adapter_data *data = access_dev_data(dev);
	bool notify = false;

	k_spinlock_key_t key = k_spin_lock(&(data->lock));

	if (data->rx.buf) {

		__ASSERT_NO_MSG(data->rx.curr_buf >= data->rx.buf);
		__ASSERT_NO_MSG(data->rx.curr_buf >= data->rx.last_notify_buf);
		if (data->rx.curr_buf > data->rx.last_notify_buf) {

			event.data.rx.buf = data->rx.buf;
			event.data.rx.len = data->rx.curr_buf - data->rx.last_notify_buf;
			event.data.rx.offset = data->rx.last_notify_buf - data->rx.buf;
			data->rx.last_notify_buf = data->rx.curr_buf;
			notify = true;
		}
	}

	k_spin_unlock(&(data->lock), key);

	if (notify) {
		LOG_DBG("Notification: UART_RX_RDY (0x%x + %d, size: %d)",
			(unsigned int)event.data.rx.buf, event.data.rx.offset, event.data.rx.len);
		user_callback(dev, &event);
	}
}

static inline void notify_rx_buffer_release(const struct device *dev, uint8_t *buf)
{
	struct uart_event event = {
		.type = UART_RX_BUF_RELEASED,
		.data.rx_buf.buf = buf
	};
	LOG_DBG("Notification: UART_RX_BUF_RELEASED");
	user_callback(dev, &event);
}

static inline void notify_rx_buffer_req(const struct device *dev)
{
	struct uart_event event = {
		.type = UART_RX_BUF_REQUEST,
	};
	LOG_DBG("Notification: UART_RX_BUF_REQUEST");
	user_callback(dev, &event);
}

static inline void switch_rx_buffer(const struct device *dev, bool request_new)
{
	struct uart_async_adapter_data *data = access_dev_data(dev);
	uint8_t *old_buf;

	k_spinlock_key_t key = k_spin_lock(&(data->lock));

	old_buf = data->rx.buf;
	data->rx.buf = data->rx.next_buf;
	data->rx.curr_buf = data->rx.next_buf;
	data->rx.last_notify_buf = data->rx.next_buf;
	data->rx.size_left = data->rx.next_buf_len;
	data->rx.next_buf = NULL;
	data->rx.next_buf_len = 0;

	k_spin_unlock(&(data->lock), key);

	if (old_buf) {
		notify_rx_buffer_release(dev, old_buf);
	}
	if (request_new) {
		notify_rx_buffer_req(dev);
	}
}

static int tx(const struct device *dev, const uint8_t *buf, size_t len, int32_t timeout)
{
	int ret = 0;
	struct uart_async_adapter_data *data = access_dev_data(dev);
	bool tx_send = false;

	LOG_DBG("%s(%s, 0x%x, %u, %d)", __func__, dev->name, (unsigned int)buf, len, timeout);

	k_spinlock_key_t key = k_spin_lock(&(data->lock));

	if (!len) {
		LOG_DBG("%s: no data", __func__);
	} else if (data->tx.buf) {
		ret = -EBUSY;
		LOG_DBG("%s: busy", __func__);
	} else {
		data->tx.buf = buf;
		data->tx.curr_buf = buf;
		data->tx.size_left = len;
		data->tx.enabled = true;
		tx_send = true;
		LOG_DBG("%s: sending", __func__);
	}

	k_spin_unlock(&(data->lock), key);

	if (tx_send) {
		uart_irq_tx_enable(data->target);
	}
	if (tx_send && timeout != SYS_FOREVER_US) {
		k_timer_start(&data->tx.timeout_timer, K_USEC(timeout), K_NO_WAIT);
	}
	return ret;
}

static int tx_abort(const struct device *dev)
{
	int ret = 0;
	struct uart_event event = {UART_TX_ABORTED};
	struct uart_async_adapter_data *data = access_dev_data(dev);

	data->tx.enabled = false;
	k_timer_stop(&data->tx.timeout_timer);
	uart_irq_tx_disable(data->target);

	k_spinlock_key_t key = k_spin_lock(&(data->lock));

	if (data->tx.buf == NULL) {
		ret = -EFAULT;
	} else {
		/* Set the event data */
		event.data.tx.buf = data->tx.buf;
		event.data.tx.len = data->tx.curr_buf - data->tx.buf;
		/* Clear any pending tx */
		data->tx.buf = NULL;
		data->tx.curr_buf = NULL;
		data->tx.size_left = 0;
	}

	k_spin_unlock(&(data->lock), key);

	if (!ret) {
		user_callback(dev, &event);
	}
	return ret;
}


static int rx_enable(const struct device *dev, uint8_t *buf, size_t len, int32_t timeout)
{
	int ret = 0;
	struct uart_async_adapter_data *data = access_dev_data(dev);

	k_spinlock_key_t key = k_spin_lock(&(data->lock));

	if (data->rx.next_buf || data->rx.buf) {
		ret = -EBUSY;
	}
	data->rx.buf = NULL;
	data->rx.curr_buf = NULL;
	data->rx.size_left = 0;
	data->rx.next_buf = buf;
	data->rx.next_buf_len = len;
	data->rx.timeout = timeout;
	data->rx.enabled = true;

	k_spin_unlock(&(data->lock), key);

	uart_irq_rx_enable(data->target);
	uart_irq_err_enable(data->target);
	return ret;
}

static int rx_buf_rsp(const struct device *dev, uint8_t *buf, size_t len)
{
	int ret = 0;
	struct uart_async_adapter_data *data = access_dev_data(dev);

	k_spinlock_key_t key = k_spin_lock(&(data->lock));

	if (data->rx.next_buf) {
		ret = -EBUSY;
	} else {
		__ASSERT_NO_MSG(!data->rx.next_buf_len);
		data->rx.next_buf = buf;
		data->rx.next_buf_len = len;
	}

	k_spin_unlock(&(data->lock), key);

	return ret;
}

static int rx_disable(const struct device *dev)
{
	int ret = 0;
	struct uart_async_adapter_data *data = access_dev_data(dev);
	struct uart_event event_disabled = {UART_RX_DISABLED};

	data->rx.enabled = false;
	uart_irq_rx_disable(data->target);
	uart_irq_err_disable(data->target);
	while (data->rx.buf) {
		switch_rx_buffer(dev, false);
	}

	user_callback(dev, &event_disabled);

	return ret;
}

/* Basic interface */

static int poll_in(const struct device *dev, unsigned char *p_char)
{
	__ASSERT_NO_MSG(dev);

	const struct uart_async_adapter_data *data = dev->data;

	__ASSERT_NO_MSG(data);
	__ASSERT_NO_MSG(data->target);

	return uart_poll_in(data->target, p_char);
}

static void poll_out(const struct device *dev, unsigned char out_char)
{
	__ASSERT_NO_MSG(dev);

	const struct uart_async_adapter_data *data = dev->data;

	__ASSERT_NO_MSG(data);
	__ASSERT_NO_MSG(data->target);

	uart_poll_out(data->target, out_char);
}

static int err_check(const struct device *dev)
{
	__ASSERT_NO_MSG(dev);

	const struct uart_async_adapter_data *data = dev->data;

	__ASSERT_NO_MSG(data);
	__ASSERT_NO_MSG(data->target);

	return uart_err_check(data->target);
}

#ifdef CONFIG_UART_USE_RUNTIME_CONFIGURE
static int configure(const struct device *dev, const struct uart_config *cfg)
{
	__ASSERT_NO_MSG(dev);

	const struct uart_async_adapter_data *data = dev->data;

	__ASSERT_NO_MSG(data);
	__ASSERT_NO_MSG(data->target);

	return uart_configure(data->target, cfg);
}

static int config_get(const struct device *dev, struct uart_config *cfg)
{
	__ASSERT_NO_MSG(dev);

	const struct uart_async_adapter_data *data = dev->data;

	__ASSERT_NO_MSG(data);
	__ASSERT_NO_MSG(data->target);

	return uart_config_get(data->target, cfg);
}
#endif /* CONFIG_UART_USE_RUNTIME_CONFIGURE */


#ifdef CONFIG_UART_LINE_CTRL

static int line_ctrl_set(const struct device *dev, uint32_t ctrl, uint32_t val)
{
	__ASSERT_NO_MSG(dev);

	const struct uart_async_adapter_data *data = dev->data;

	__ASSERT_NO_MSG(data);
	__ASSERT_NO_MSG(data->target);

	return uart_line_ctrl_set(data->target, ctrl, val);
}

static int line_ctrl_get(const struct device *dev, uint32_t ctrl, uint32_t *val)
{
	__ASSERT_NO_MSG(dev);

	const struct uart_async_adapter_data *data = dev->data;

	__ASSERT_NO_MSG(data);
	__ASSERT_NO_MSG(data->target);

	return uart_line_ctrl_get(data->target, ctrl, val);
}

#endif /* CONFIG_UART_LINE_CTRL */

#ifdef CONFIG_UART_DRV_CMD

static int drv_cmd(const struct device *dev, uint32_t cmd, uint32_t p)
{
	__ASSERT_NO_MSG(dev);

	const struct uart_async_adapter_data *data = dev->data;

	__ASSERT_NO_MSG(data);
	__ASSERT_NO_MSG(data->target);

	return uart_drv_cmd(data->target, cmd, p);
}

#endif /* CONFIG_UART_DRV_CMD */

static inline void on_tx_ready(const struct device *dev, struct uart_async_adapter_data *data)
{
	k_spinlock_key_t key = k_spin_lock(&(data->lock));

	LOG_DBG("%s: Enter(%s) (left: %u)", __func__, dev->name, data->tx.size_left);
	if (data->tx.size_left) {
		__ASSERT_NO_MSG(data->tx.curr_buf);
		int ret;

		ret = uart_fifo_fill(data->target, data->tx.curr_buf, data->tx.size_left);
		LOG_DBG("Pushed %d characters", ret);
		if (ret <= 0) {
			LOG_ERR("Unexpected fifo fill err: %d", ret);
		} else {
			data->tx.curr_buf += ret;
			data->tx.size_left -= ret;
		}
	}

	k_spin_unlock(&(data->lock), key);

	LOG_DBG("%s: Exit", __func__);
}

static inline void on_tx_complete(const struct device *dev, struct uart_async_adapter_data *data)
{
	LOG_DBG("%s: Enter(%s)", __func__, dev->name);
	if (!data->tx.size_left) {
		struct uart_event event = {UART_TX_DONE};

		data->tx.enabled = false;
		uart_irq_tx_disable(data->target);

		k_spinlock_key_t key = k_spin_lock(&(data->lock));

		if (data->tx.buf) {
			__ASSERT_NO_MSG(data->tx.curr_buf);
			__ASSERT_NO_MSG(data->tx.curr_buf >= data->tx.buf);
			/* Transfer really finished */
			event.data.tx.buf = data->tx.buf;
			event.data.tx.len = data->tx.curr_buf - data->tx.buf;
			/* Clear any pending tx */
			data->tx.buf = NULL;
			data->tx.curr_buf = NULL;
			data->tx.size_left = 0;
		}

		k_spin_unlock(&(data->lock), key);

		if (event.data.tx.buf) {
			LOG_DBG("Notification: UART_TX_DONE (0x%x, size: %d)",
				(unsigned int)event.data.tx.buf, event.data.tx.len);
			user_callback(dev, &event);
		} else {
			LOG_ERR("TX buffer NULL on tx complete");
		}
	}
	LOG_DBG("%s: Exit", __func__);
}

static inline void on_rx_ready(const struct device *dev, struct uart_async_adapter_data *data)
{
	int ret;
	bool notify_now = false;

	LOG_DBG("%s: Enter (%s)", __func__, dev->name);
	if (data->rx.timeout != SYS_FOREVER_US) {
		k_timer_start(&data->rx.timeout_timer, K_USEC(data->rx.timeout), K_NO_WAIT);
	}
	do {
		k_spinlock_key_t key = k_spin_lock(&(data->lock));

		if (!data->rx.size_left) {
			notify_now = false;

			k_spin_unlock(&(data->lock), key);

			notify_rx_buffer(dev);
			switch_rx_buffer(dev, true);

			key = k_spin_lock(&(data->lock));
		}
		if (!data->rx.size_left) {
			/* Data received without buffer - dropping */
			uint8_t dummy;
			size_t cnt = 0;

			do {
				ret = uart_fifo_read(data->target, &dummy, 1);
				if (ret < 0) {
					LOG_ERR("Unexpected error on FIFO dropping: %d", ret);
					ret = 0;
				}
				cnt += ret;
			} while (ret);
			LOG_ERR("Data received without buffer prepared, dropped %d bytes", cnt);
		} else {
			ret = uart_fifo_read(data->target, data->rx.curr_buf, data->rx.size_left);
			LOG_DBG("Received %d characters", ret);
			if (ret < 0) {
				LOG_ERR("Unexpected error on FIFO read: %d", ret);
				ret = 0;
			}
			__ASSERT_NO_MSG(data->rx.size_left >= ret);
			data->rx.curr_buf += ret;
			data->rx.size_left -= ret;
			if (data->rx.timeout == 0) {
				notify_now = true;
			}
		}

		k_spin_unlock(&(data->lock), key);

	} while (ret);
	if (notify_now) {
		notify_rx_buffer(dev);
	}
	LOG_DBG("%s: Exit", __func__);
}

static inline void on_error(const struct device *dev,
			    struct uart_async_adapter_data *data,
			    int rx_err)
{
	struct uart_event event = {
		.type = UART_RX_STOPPED,
		.data.rx_stop.reason = rx_err
	};

	LOG_DBG("%s: Enter(%s)", __func__, dev->name);
	rx_disable(data->target);
	user_callback(dev, &event);
	LOG_DBG("%s: Exit", __func__);
}

static void uart_irq_handler(const struct device *target_dev, void *context)
{
	const struct device *dev = context;
	struct uart_async_adapter_data *data = access_dev_data(dev);

	__ASSERT(target_dev == data->target,
		"IRQ handler called with a context that seems uninitialized.");
	LOG_DBG("irq_handler: Enter");
	if (uart_irq_update(target_dev) && uart_irq_is_pending(target_dev)) {
		if (data->tx.enabled && uart_irq_tx_ready(target_dev)) {
			on_tx_ready(dev, data);
		}
		if (data->tx.enabled && uart_irq_tx_complete(target_dev)) {
			on_tx_complete(dev, data);
		}
		if (data->rx.enabled && uart_irq_rx_ready(target_dev)) {
			on_rx_ready(dev, data);
		}

		/* Check errors only after all the data is received from the device */
		int rx_err = uart_err_check(target_dev);

		if (rx_err < 0) {
			rx_err = 0;
		}
		if (data->rx.enabled && rx_err) {
			on_error(dev, data, rx_err);
		}
	}
	LOG_DBG("irq_handler: Exit");
}

const struct uart_driver_api uart_async_adapter_driver_api = {
	/* Async interface */
	.callback_set = callback_set,
	.tx = tx,
	.tx_abort = tx_abort,
	.rx_enable = rx_enable,
	.rx_buf_rsp = rx_buf_rsp,
	.rx_disable = rx_disable,

	/* Basic functions */
	.poll_in = poll_in,
	.poll_out = poll_out,
	.err_check = err_check,
#ifdef CONFIG_UART_USE_RUNTIME_CONFIGURE
	.configure = configure,
	.config_get = config_get,
#endif

#ifdef CONFIG_UART_LINE_CTRL
	.line_ctrl_set = line_ctrl_set,
	.line_ctrl_get = line_ctrl_get
#endif

#ifdef CONFIG_UART_DRV_CMD
	.drv_cmd = drv_cmd
#endif
};


static void tx_timeout(struct k_timer *timer)
{
	const struct device *dev = k_timer_user_data_get(timer);

	(void)tx_abort(dev);
}

static void rx_timeout(struct k_timer *timer)
{
	const struct device *dev = k_timer_user_data_get(timer);

	notify_rx_buffer(dev);
}

void uart_async_adapter_init(const struct device *dev, const struct device *target)
{
	__ASSERT_NO_MSG(dev);
	__ASSERT_NO_MSG(dev->api);
	__ASSERT(dev->api == &uart_async_adapter_driver_api,
		"This is not uart_async_adapter device");

	struct uart_async_adapter_data *data = access_dev_data(dev);

	data->target = target;
	uart_irq_callback_user_data_set(data->target, uart_irq_handler, (void *)dev);

	k_timer_init(&data->tx.timeout_timer, tx_timeout, NULL);
	k_timer_user_data_set(&data->tx.timeout_timer, (void *)dev);
	k_timer_init(&data->rx.timeout_timer, rx_timeout, NULL);
	k_timer_user_data_set(&data->rx.timeout_timer, (void *)dev);

	dev->state->initialized = true;
}
```

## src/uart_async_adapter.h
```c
/*
 * Copyright (c) 2021 Nordic Semiconductor ASA
 *
 * SPDX-License-Identifier: LicenseRef-Nordic-5-Clause
 */

/** @file
 *  @brief UART asynchronous API adapter
 */

/**
 * @brief UART asynchronous API universal adapter
 * @defgroup uart_async_adapter UART ASYNC adapter
 * @{
 *
 * This module acts as an adapter between UART interrupt and async interface.
 *
 * @note The UART ASYNC API adapter implementation is experimental.
 *       It means it is not guaranteed to work in any corner situation.
 */

#include <zephyr/device.h>
#include <zephyr/drivers/uart.h>
#include <zephyr/kernel.h>


/**
 * @brief UART asynch adapter data structure
 *
 * The data used by asynch adapter.
 */
struct uart_async_adapter_data {
	/** Target device pointer */
	const struct device *target;
	/** User callback function for synchronous interface */
	uart_callback_t user_callback;
	/** Pointer to the user data */
	void *user_data;

	/* The interface realization */
	/** Lock for the data that requires it */
	struct k_spinlock lock;

	/** Data used for output transmission */
	struct {
		/** The original buffer pointer set when data transfer was requested */
		const uint8_t *buf;
		/** Current buffer position */
		const uint8_t *curr_buf;
		/** Number of data left in the current buffer */
		volatile size_t size_left;
		/** Timer used for timeout */
		struct k_timer timeout_timer;
		/** Tx state */
		bool enabled;
	} tx;

	/** Data used for input transmission */
	struct {
		/** Base buffer pointer used now for data reception */
		uint8_t *buf;
		/** Current position to write data into */
		uint8_t *curr_buf;
		/** Last position of the notified buffer */
		uint8_t *last_notify_buf;
		/** Number of bytes left in the current buffer */
		size_t size_left;
		/** Buffer prepared for the next transfer */
		uint8_t *next_buf;
		/** The size of the buffer for the next transfer */
		size_t next_buf_len;
		/** Timeout set by the user */
		int32_t timeout;
		/** Timer used for timeout */
		struct k_timer timeout_timer;
		/** RX state */
		bool enabled;
	} rx;
};

/**
 * @brief Driver API for ASYNC adapter
 *
 * The API of the UART async adapter uses standard UART API structure.
 */
extern const struct uart_driver_api uart_async_adapter_driver_api;

/**
 * @brief The name of the data instance connected with created device instance
 *
 * @name _dev_name The name of the created device instance
 */
#define UART_ASYNC_ADAPTER_INST_DATA_NAME(_dev_name) _CONCAT(uart_async_adapter_data_, _dev_name)

#define UART_ASYNC_ADAPTER_INST_STATE_NAME(_dev_name) _CONCAT(uart_async_adapter_state_, _dev_name)

#define UART_ASYNC_ADAPTER_INST_NAME(_dev_name) _CONCAT(_dev_name, _inst)

/**
 * @brief The macro that creates and instance of the UART async adapter
 *
 * @name _dev The name of the created device instance
 */
#define UART_ASYNC_ADAPTER_INST_DEFINE(_dev) \
	static struct uart_async_adapter_data UART_ASYNC_ADAPTER_INST_DATA_NAME(_dev); \
	static struct device_state UART_ASYNC_ADAPTER_INST_STATE_NAME(_dev); \
	static const struct device UART_ASYNC_ADAPTER_INST_NAME(_dev) = { \
		.name = STRINGIFY(_dev), \
		.api = &uart_async_adapter_driver_api, \
		.state = &UART_ASYNC_ADAPTER_INST_STATE_NAME(_dev), \
		.data = &UART_ASYNC_ADAPTER_INST_DATA_NAME(_dev), \
	}; \
	static const struct device *const _dev = &UART_ASYNC_ADAPTER_INST_NAME(_dev)

/**
 * @brief Initialize adapter
 *
 * Call this function before uart adapter is used.
 * The function configures connected UART device to work with the adapter.
 *
 * @param dev    The adapter interface
 * @param target Target UART device with only interrupt interface
 */
void uart_async_adapter_init(const struct device *dev, const struct device *target);

/** @} */
```
